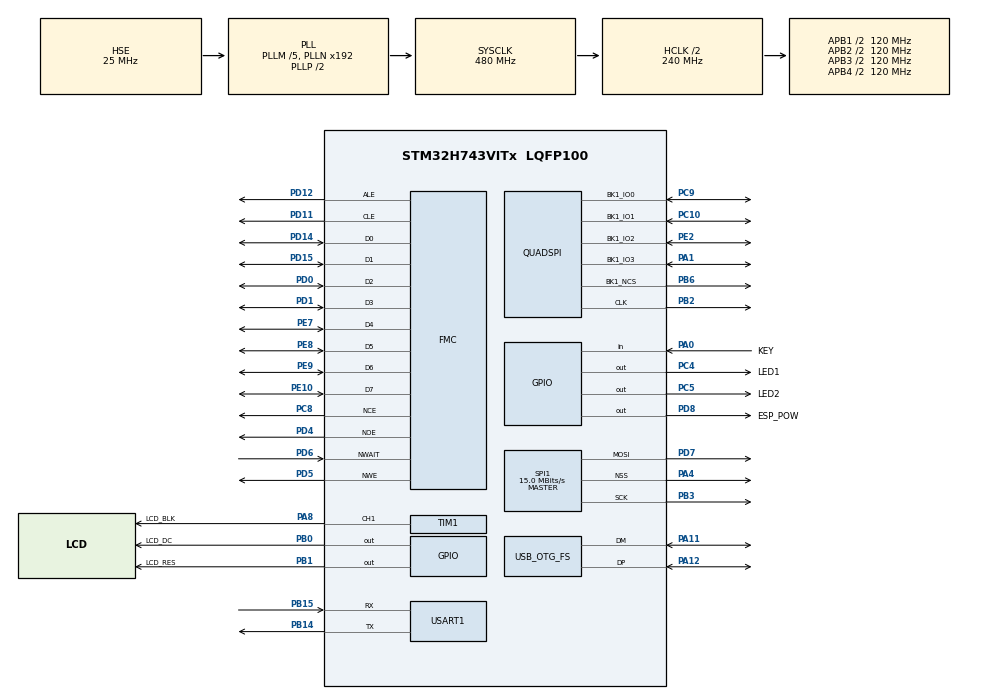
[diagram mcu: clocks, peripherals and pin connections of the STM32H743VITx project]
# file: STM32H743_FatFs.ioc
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Dma.Request0=SPI1_TX
Dma.Request1=USART1_RX
Dma.Request2=USART1_TX
Dma.SPI1_TX.0.Direction=DMA_MEMORY_TO_PERIPH
Dma.SPI1_TX.0.EventEnable=DISABLE
Dma.SPI1_TX.0.FIFOMode=DMA_FIFOMODE_DISABLE
Dma.SPI1_TX.0.Instance=DMA1_Stream0
Dma.SPI1_TX.0.MemDataAlignment=DMA_MDATAALIGN_BYTE
Dma.SPI1_TX.0.MemInc=DMA_MINC_ENABLE
Dma.SPI1_TX.0.Mode=DMA_NORMAL
Dma.SPI1_TX.0.PeriphDataAlignment=DMA_PDATAALIGN_BYTE
Dma.SPI1_TX.0.PeriphInc=DMA_PINC_DISABLE
Dma.SPI1_TX.0.Polarity=HAL_DMAMUX_REQ_GEN_RISING
Dma.SPI1_TX.0.Priority=DMA_PRIORITY_VERY_HIGH
Dma.SPI1_TX.0.RequestNumber=1
Dma.SPI1_TX.0.SignalID=NONE
Dma.SPI1_TX.0.SyncEnable=DISABLE
Dma.SPI1_TX.0.SyncPolarity=HAL_DMAMUX_SYNC_NO_EVENT
Dma.SPI1_TX.0.SyncRequestNumber=1
Dma.SPI1_TX.0.SyncSignalID=NONE
Dma.USART1_RX.1.Direction=DMA_PERIPH_TO_MEMORY
Dma.USART1_RX.1.EventEnable=DISABLE
Dma.USART1_RX.1.FIFOMode=DMA_FIFOMODE_DISABLE
Dma.USART1_RX.1.Instance=DMA1_Stream1
Dma.USART1_RX.1.MemDataAlignment=DMA_MDATAALIGN_BYTE
Dma.USART1_RX.1.MemInc=DMA_MINC_ENABLE
Dma.USART1_RX.1.Mode=DMA_CIRCULAR
Dma.USART1_RX.1.PeriphDataAlignment=DMA_PDATAALIGN_BYTE
Dma.USART1_RX.1.PeriphInc=DMA_PINC_DISABLE
Dma.USART1_RX.1.Polarity=HAL_DMAMUX_REQ_GEN_RISING
Dma.USART1_RX.1.Priority=DMA_PRIORITY_VERY_HIGH
Dma.USART1_RX.1.RequestNumber=1
Dma.USART1_RX.1.SignalID=NONE
Dma.USART1_RX.1.SyncEnable=DISABLE
Dma.USART1_RX.1.SyncPolarity=HAL_DMAMUX_SYNC_NO_EVENT
Dma.USART1_RX.1.SyncRequestNumber=1
Dma.USART1_RX.1.SyncSignalID=NONE
Dma.USART1_TX.2.Direction=DMA_MEMORY_TO_PERIPH
Dma.USART1_TX.2.EventEnable=DISABLE
Dma.USART1_TX.2.FIFOMode=DMA_FIFOMODE_DISABLE
Dma.USART1_TX.2.Instance=DMA1_Stream2
Dma.USART1_TX.2.MemDataAlignment=DMA_MDATAALIGN_BYTE
Dma.USART1_TX.2.MemInc=DMA_MINC_ENABLE
Dma.USART1_TX.2.Mode=DMA_NORMAL
Dma.USART1_TX.2.PeriphDataAlignment=DMA_PDATAALIGN_BYTE
Dma.USART1_TX.2.PeriphInc=DMA_PINC_DISABLE
Dma.USART1_TX.2.Polarity=HAL_DMAMUX_REQ_GEN_RISING
Dma.USART1_TX.2.Priority=DMA_PRIORITY_VERY_HIGH
Dma.USART1_TX.2.RequestNumber=1
Dma.USART1_TX.2.SignalID=NONE
Dma.USART1_TX.2.SyncEnable=DISABLE
Dma.USART1_TX.2.SyncPolarity=HAL_DMAMUX_SYNC_NO_EVENT
Dma.USART1_TX.2.SyncRequestNumber=1
Dma.USART1_TX.2.SyncSignalID=NONE
FATFS._CODE_PAGE=936
FATFS._MAX_SS=4096
FATFS._USE_LFN=2
FMC.AttributeSpaceHiZSetupTime1=2
FMC.AttributeSpaceHoldSetupTime1=3
FMC.AttributeSpaceSetupTime1=2
FMC.AttributeSpaceWaitSetupTime1=4
FMC.CommonSpaceHiZSetupTime1=2
FMC.CommonSpaceHoldSetupTime1=3
FMC.CommonSpaceSetupTime1=2
FMC.CommonSpaceWaitSetupTime1=4
FMC.ECCPageSize1=FMC_NAND_ECC_PAGE_SIZE_2048BYTE
FMC.EccComputation1=FMC_NAND_ECC_ENABLE
FMC.NandBlockNbr1=2048
FMC.NandBlockSize1=2048*64
FMC.NandPageSize1=2048+64
FMC.NandPlaneNbr1=2
FMC.NandPlaneSize1=4096
FMC.NandSpareAreaSize1=64
FMC.TARSetupTime1=0
FMC.TCLRSetupTime1=0
Mcu.Family=STM32H7
Mcu.Name=STM32H743VITx
Mcu.Package=LQFP100
Mdma.MDMA_Channel1.QUADSPI_FIFO_TH.0.BlockCount=0
Mdma.MDMA_Channel1.QUADSPI_FIFO_TH.0.BlockDataLength=0
Mdma.MDMA_Channel1.QUADSPI_FIFO_TH.0.BufferTransferLength=128
Mdma.MDMA_Channel1.QUADSPI_FIFO_TH.0.CircularMode=MDMA_LINEAR_LIST
Mdma.MDMA_Channel1.QUADSPI_FIFO_TH.0.DataAlignment=MDMA_DATAALIGN_PACKENABLE
Mdma.MDMA_Channel1.QUADSPI_FIFO_TH.0.DestBlockAddressOffset=0
Mdma.MDMA_Channel1.QUADSPI_FIFO_TH.0.DestBurst=MDMA_DEST_BURST_SINGLE
Mdma.MDMA_Channel1.QUADSPI_FIFO_TH.0.DestDataSize=MDMA_DEST_DATASIZE_BYTE
Mdma.MDMA_Channel1.QUADSPI_FIFO_TH.0.DestinationInc=MDMA_DEST_INC_DISABLE
Mdma.MDMA_Channel1.QUADSPI_FIFO_TH.0.DstAddress=0
Mdma.MDMA_Channel1.QUADSPI_FIFO_TH.0.Endianness=MDMA_LITTLE_ENDIANNESS_PRESERVE
Mdma.MDMA_Channel1.QUADSPI_FIFO_TH.0.Instance=MDMA_Channel1
Mdma.MDMA_Channel1.QUADSPI_FIFO_TH.0.MaskAddress=0
Mdma.MDMA_Channel1.QUADSPI_FIFO_TH.0.MaskData=0
Mdma.MDMA_Channel1.QUADSPI_FIFO_TH.0.Priority=MDMA_PRIORITY_VERY_HIGH
Mdma.MDMA_Channel1.QUADSPI_FIFO_TH.0.Rank=First
Mdma.MDMA_Channel1.QUADSPI_FIFO_TH.0.SourceBlockAddressOffset=0
Mdma.MDMA_Channel1.QUADSPI_FIFO_TH.0.SourceBurst=MDMA_SOURCE_BURST_SINGLE
Mdma.MDMA_Channel1.QUADSPI_FIFO_TH.0.SourceDataSize=MDMA_SRC_DATASIZE_BYTE
Mdma.MDMA_Channel1.QUADSPI_FIFO_TH.0.SourceInc=MDMA_SRC_INC_BYTE
Mdma.MDMA_Channel1.QUADSPI_FIFO_TH.0.SrcAddress=0
Mdma.MDMA_Channel1.QUADSPI_FIFO_TH.0.TransferTriggerMode=MDMA_BUFFER_TRANSFER
Mdma.MDMA_Channel1.Request0=QUADSPI_FIFO_TH
Mdma.MDMA_Channel1.RequestsNb=1
Mdma.RequestSet0=MDMA_Channel1
Mdma.RequestSetsNb=1
NVIC.DMA1_Stream0_IRQn=true\:1\:0\:true\:false\:true\:false\:true\:true
NVIC.DMA1_Stream1_IRQn=true\:0\:0\:true\:false\:true\:false\:true\:true
NVIC.DMA1_Stream2_IRQn=true\:0\:0\:false\:false\:true\:false\:true\:true
NVIC.MDMA_IRQn=true\:0\:0\:false\:false\:true\:false\:true\:true
NVIC.OTG_FS_IRQn=true\:3\:0\:true\:false\:true\:false\:true\:true
NVIC.PriorityGroup=NVIC_PRIORITYGROUP_4
NVIC.QUADSPI_IRQn=true\:0\:0\:false\:false\:true\:true\:true\:true
NVIC.SPI1_IRQn=true\:1\:0\:true\:false\:true\:true\:true\:true
NVIC.TIM15_IRQn=true\:0\:0\:false\:false\:true\:true\:true\:true
NVIC.USART1_IRQn=true\:0\:0\:false\:false\:true\:true\:true\:true
PA0.GPIO_Label=KEY
PA0.GPIO_PuPd=GPIO_PULLDOWN
PA0.Signal=GPIO_Input
PA1.GPIO_Speed=GPIO_SPEED_FREQ_VERY_HIGH
PA1.Mode=Single Bank 1
PA1.Signal=QUADSPI_BK1_IO3
PA11.GPIO_Speed=GPIO_SPEED_FREQ_LOW
PA11.Mode=Device_Only
PA11.Signal=USB_OTG_FS_DM
PA12.GPIO_Speed=GPIO_SPEED_FREQ_LOW
PA12.Mode=Device_Only
PA12.Signal=USB_OTG_FS_DP
PA13\ (JTMS/SWDIO).Mode=Serial_Wire
PA13\ (JTMS/SWDIO).Signal=DEBUG_JTMS-SWDIO
PA14\ (JTCK/SWCLK).Mode=Serial_Wire
PA14\ (JTCK/SWCLK).Signal=DEBUG_JTCK-SWCLK
PA4.GPIO_Speed=GPIO_SPEED_FREQ_VERY_HIGH
PA4.Mode=NSS_Signal_Hard_Output
PA4.Signal=SPI1_NSS
PA8.GPIO_Label=LCD_BLK
PA8.Signal=S_TIM1_CH1
PB0.GPIO_Label=LCD_DC
PB0.GPIO_Speed=GPIO_SPEED_FREQ_VERY_HIGH
PB0.Signal=GPIO_Output
PB1.GPIO_Label=LCD_RES
PB1.GPIO_Speed=GPIO_SPEED_FREQ_VERY_HIGH
PB1.Signal=GPIO_Output
PB14.GPIO_PuPd=GPIO_NOPULL
PB14.Mode=Asynchronous
PB14.Signal=USART1_TX
PB15.GPIO_PuPd=GPIO_PULLUP
PB15.Mode=Asynchronous
PB15.Signal=USART1_RX
PB2.GPIO_Speed=GPIO_SPEED_FREQ_VERY_HIGH
PB2.Mode=Single Bank 1
PB2.Signal=QUADSPI_CLK
PB3\ (JTDO/TRACESWO).GPIO_Speed=GPIO_SPEED_FREQ_VERY_HIGH
PB3\ (JTDO/TRACESWO).Mode=TX_Only_Simplex_Unidirect_Master
PB3\ (JTDO/TRACESWO).Signal=SPI1_SCK
PB6.GPIO_Speed=GPIO_SPEED_FREQ_VERY_HIGH
PB6.Mode=Single Bank 1
PB6.Signal=QUADSPI_BK1_NCS
PC10.GPIO_Speed=GPIO_SPEED_FREQ_VERY_HIGH
PC10.Mode=Single Bank 1
PC10.Signal=QUADSPI_BK1_IO1
PC14-OSC32_IN\ (OSC32_IN).Mode=LSE-External-Oscillator
PC14-OSC32_IN\ (OSC32_IN).Signal=RCC_OSC32_IN
PC15-OSC32_OUT\ (OSC32_OUT).Mode=LSE-External-Oscillator
PC15-OSC32_OUT\ (OSC32_OUT).Signal=RCC_OSC32_OUT
PC4.GPIO_Label=LED1
PC4.GPIO_PuPd=GPIO_PULLUP
PC4.PinState=GPIO_PIN_SET
PC4.Signal=GPIO_Output
PC5.GPIO_Label=LED2
PC5.GPIO_PuPd=GPIO_PULLUP
PC5.PinState=GPIO_PIN_SET
PC5.Signal=GPIO_Output
PC8.Mode=NandChipSelect3_1
PC8.Signal=FMC_NCE
PC9.GPIO_Speed=GPIO_SPEED_FREQ_VERY_HIGH
PC9.Mode=Single Bank 1
PC9.Signal=QUADSPI_BK1_IO0
PD0.Signal=FMC_D2_DA2
PD1.Signal=FMC_D3_DA3
PD11.Signal=FMC_A16_CLE
PD12.Signal=FMC_A17_ALE
PD14.Signal=FMC_D0_DA0
PD15.Signal=FMC_D1_DA1
PD4.Signal=FMC_NOE
PD5.Signal=FMC_NWE
PD6.GPIO_PuPd=GPIO_PULLUP
PD6.Signal=FMC_NWAIT
PD7.GPIO_Speed=GPIO_SPEED_FREQ_VERY_HIGH
PD7.Mode=TX_Only_Simplex_Unidirect_Master
PD7.Signal=SPI1_MOSI
PD8.GPIO_Label=ESP_POW
PD8.GPIO_PuPd=GPIO_PULLDOWN
PD8.Signal=GPIO_Output
PE10.Signal=FMC_D7_DA7
PE2.GPIO_Speed=GPIO_SPEED_FREQ_VERY_HIGH
PE2.Mode=Single Bank 1
PE2.Signal=QUADSPI_BK1_IO2
PE7.Signal=FMC_D4_DA4
PE8.Signal=FMC_D5_DA5
PE9.Signal=FMC_D6_DA6
PH0-OSC_IN\ (PH0).Mode=HSE-External-Oscillator
PH0-OSC_IN\ (PH0).Signal=RCC_OSC_IN
PH1-OSC_OUT\ (PH1).Mode=HSE-External-Oscillator
PH1-OSC_OUT\ (PH1).Signal=RCC_OSC_OUT
ProjectManager.HeapSize=0x8000
ProjectManager.StackSize=0x8000
ProjectManager.TargetToolchain=MDK-ARM V5.32
QUADSPI.ChipSelectHighTime=QSPI_CS_HIGH_TIME_2_CYCLE
QUADSPI.ClockMode=QSPI_CLOCK_MODE_0
QUADSPI.ClockPrescaler=2-1
QUADSPI.FifoThreshold=32
QUADSPI.FlashSize=23+1
QUADSPI.SampleShifting=QSPI_SAMPLE_SHIFTING_HALFCYCLE
RCC.ADCFreq_Value=120000000
RCC.APB1Freq_Value=120000000
RCC.APB2Freq_Value=120000000
RCC.APB3Freq_Value=120000000
RCC.APB4Freq_Value=120000000
RCC.CortexFreq_Value=480000000
RCC.D1PPRE=RCC_APB3_DIV2
RCC.D2PPRE1=RCC_APB1_DIV2
RCC.D2PPRE2=RCC_APB2_DIV2
RCC.D3PPRE=RCC_APB4_DIV2
RCC.DIVM1=5
RCC.DIVM2=5
RCC.DIVM3=25
RCC.DIVN1=192
RCC.DIVN2=48
RCC.DIVN3=240
RCC.DIVQ1=5
RCC.DIVQ3=5
RCC.DIVR1=5
RCC.HCLKFreq_Value=240000000
RCC.HPRE=RCC_HCLK_DIV2
RCC.PLLFRACN=0
RCC.PLLSourceVirtual=RCC_PLLSOURCE_HSE
RCC.QSPICLockSelection=RCC_QSPICLKSOURCE_PLL
RCC.SPI123CLockSelection=RCC_SPI123CLKSOURCE_PLL2
RCC.SYSCLKFreq_VALUE=480000000
RCC.SYSCLKSource=RCC_SYSCLKSOURCE_PLLCLK
RCC.USBCLockSelection=RCC_USBCLKSOURCE_PLL3
RCC.USBFreq_Value=48000000
SH.FMC_A16_CLE.0=FMC_CLE,8b-dmux1
SH.FMC_A17_ALE.0=FMC_ALE,8b-dmux1
SH.FMC_D0_DA0.0=FMC_D0,8b-dmux1
SH.FMC_D1_DA1.0=FMC_D1,8b-dmux1
SH.FMC_D2_DA2.0=FMC_D2,8b-dmux1
SH.FMC_D3_DA3.0=FMC_D3,8b-dmux1
SH.FMC_D4_DA4.0=FMC_D4,8b-dmux1
SH.FMC_D5_DA5.0=FMC_D5,8b-dmux1
SH.FMC_D6_DA6.0=FMC_D6,8b-dmux1
SH.FMC_D7_DA7.0=FMC_D7,8b-dmux1
SH.FMC_NOE.0=FMC_NOE,8b-dmux1
SH.FMC_NWAIT.0=FMC_NWAIT,Wait1
SH.FMC_NWE.0=FMC_NWE,8b-dmux1
SH.S_TIM1_CH1.0=TIM1_CH1,PWM Generation1 CH1
SPI1.BaudRatePrescaler=SPI_BAUDRATEPRESCALER_8
SPI1.CLKPolarity=SPI_POLARITY_LOW
SPI1.CalculateBaudRate=15.0 MBits/s
SPI1.DataSize=SPI_DATASIZE_8BIT
SPI1.Direction=SPI_DIRECTION_2LINES_TXONLY
SPI1.Mode=SPI_MODE_MASTER
SPI1.VirtualNSS=VM_NSSHARD
SPI1.VirtualType=VM_MASTER
TIM1.AutoReloadPreload=TIM_AUTORELOAD_PRELOAD_DISABLE
TIM1.Channel-PWM\ Generation1\ CH1=TIM_CHANNEL_1
TIM1.Period=1000
TIM1.Prescaler=24-1
TIM15.Period=10000-1
TIM15.Prescaler=24000-1
USART1.SwapParam=ADVFEATURE_SWAP_DISABLE
USART1.VirtualMode-Asynchronous=VM_ASYNC
USB_DEVICE.CLASS_NAME_FS=MSC
USB_DEVICE.MSC_MEDIA_PACKET-MSC_FS=4096
USB_DEVICE.VirtualMode-MSC_FS=Msc
USB_DEVICE.VirtualModeFS=Msc_FS
USB_OTG_FS.VirtualMode=Device_Only
VP_FATFS_VS_Generic.Mode=User_defined
VP_TIM14_VS_ClockSourceINT.Mode=Enable_Timer
VP_TIM15_VS_ClockSourceINT.Mode=Internal
VP_TIM1_VS_ClockSourceINT.Mode=Internal
VP_USB_DEVICE_VS_USB_DEVICE_MSC_FS.Mode=MSC_FS
board=custom

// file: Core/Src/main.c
/* USER CODE BEGIN Header */
/**
 ******************************************************************************
 * @file           : main.c
 * @brief          : Main program body
 ******************************************************************************
 * @attention
 *
 * Copyright (c) 2022 STMicroelectronics.
 * All rights reserved.
 *
 * This software is licensed under terms that can be found in the LICENSE file
 * in the root directory of this software component.
 * If no LICENSE file comes with this software, it is provided AS-IS.
 *
 ******************************************************************************
 */
/* USER CODE END Header */
#include "main.h"
#include "dma.h"
#include "fatfs.h"
#include "mdma.h"
#include "quadspi.h"
#include "spi.h"
#include "tim.h"
#include "usart.h"
#include "usb_device.h"
#include "gpio.h"
#include "fmc.h"

/* USER CODE BEGIN Includes */
#include "User_FatFs.h"
#include "User_Nand_Flash.h"
#include "w25qxx.h"
#include "Dev_Uart.h"
#include "stm_flash.h"
#include "Config_Module.h"

#include "st7735s.h"
#include "fonts.h"
#include "gfx.h"
/* USER CODE END Includes */

void SystemClock_Config(void);

int main(void)
{

  /* MCU Configuration--------------------------------------------------------*/

  /* Reset of all peripherals, Initializes the Flash interface and the Systick. */
  HAL_Init();

  /* Configure the system clock */
  SystemClock_Config();

  /* USER CODE BEGIN SysInit */

  //	HAL_Delay(3000);
  /* USER CODE END SysInit */

  /* Initialize all configured peripherals */
  MX_GPIO_Init();
  MX_TIM14_Init();
  MX_DMA_Init();
  MX_USART1_UART_Init();
  MX_QUADSPI_Init();
  MX_SPI1_Init();
  MX_TIM15_Init();
  MX_FATFS_Init();
  MX_USB_DEVICE_Init();
  MX_MDMA_Init();
  MX_FMC_Init();
  MX_TIM1_Init();
  /* USER CODE BEGIN 2 */
   // User_FatFs_Init();
    QSPI_W25Qx_Init();
  //	User_Nand_Flash_Init();
  // ST7735S_Init();

//  HAL_TIM_PWM_Start(&htim1 , TIM_CHANNEL_1);
//  __HAL_TIM_SET_COMPARE(&htim1 , TIM_CHANNEL_1 , 0);
//  __HAL_TIM_SET_COMPARE(&htim1 , TIM_CHANNEL_1 , 250);
//  __HAL_TIM_SET_COMPARE(&htim1 , TIM_CHANNEL_1 , 500);
//  __HAL_TIM_SET_COMPARE(&htim1 , TIM_CHANNEL_1 , 750);
//  __HAL_TIM_SET_COMPARE(&htim1 , TIM_CHANNEL_1 , 1000);

  ST7735S_Init();
  setOrientation(R0);

  HAL_Delay(100);

  // setOrientation(R270);

  setColor(0, 255, 255);
  fillScreen();
  HAL_Delay(100);
  setColor(0, 0, 255);
  fillScreen();
  //HAL_Delay(100);

  setColor(31, 63, 31);
  setbgColor(0, 0, 255);
  setFont(ter_u24b);
  drawText(0, 50, "Hi World!");

  HAL_GPIO_WritePin(ESP_POW_GPIO_Port, ESP_POW_Pin, GPIO_PIN_SET);

  // Config_Module("ATE0\r\n" , sizeof("ATE0\r\n") , "OK\r\n");
  uint32_t size;
  uint8_t buff[255];
  static uint32_t count;

  /* USER CODE END 2 */

  /* Infinite loop */
  /* USER CODE BEGIN WHILE */
  while (1)
  {
    count++;
    if (count % 5000)
    {
      size = User_UART_Read(&huart1, buff, 255);
      User_UART_Write(&huart1, buff, size);
      User_UART_Poll_DMA_TX(&huart1);
    }

    /* USER CODE END WHILE */

  }
}

void SystemClock_Config(void)
{
  RCC_OscInitTypeDef RCC_OscInitStruct = {0};
  RCC_ClkInitTypeDef RCC_ClkInitStruct = {0};

  /** Supply configuration update enable
  */
  HAL_PWREx_ConfigSupply(PWR_LDO_SUPPLY);

  /** Configure the main internal regulator output voltage
  */
  __HAL_PWR_VOLTAGESCALING_CONFIG(PWR_REGULATOR_VOLTAGE_SCALE0);

  while(!__HAL_PWR_GET_FLAG(PWR_FLAG_VOSRDY)) {}

  /** Macro to configure the PLL clock source
  */
  __HAL_RCC_PLL_PLLSOURCE_CONFIG(RCC_PLLSOURCE_HSE);

  /** Initializes the RCC Oscillators according to the specified parameters
  * in the RCC_OscInitTypeDef structure.
  */
  RCC_OscInitStruct.OscillatorType = RCC_OSCILLATORTYPE_HSE;
  RCC_OscInitStruct.HSEState = RCC_HSE_ON;
  RCC_OscInitStruct.PLL.PLLState = RCC_PLL_ON;
  RCC_OscInitStruct.PLL.PLLSource = RCC_PLLSOURCE_HSE;
  RCC_OscInitStruct.PLL.PLLM = 5;
  RCC_OscInitStruct.PLL.PLLN = 192;
  RCC_OscInitStruct.PLL.PLLP = 2;
  RCC_OscInitStruct.PLL.PLLQ = 5;
  RCC_OscInitStruct.PLL.PLLR = 5;
  RCC_OscInitStruct.PLL.PLLRGE = RCC_PLL1VCIRANGE_2;
  RCC_OscInitStruct.PLL.PLLVCOSEL = RCC_PLL1VCOWIDE;
  RCC_OscInitStruct.PLL.PLLFRACN = 0;
  if (HAL_RCC_OscConfig(&RCC_OscInitStruct) != HAL_OK)
  {
    Error_Handler();
  }

  /** Initializes the CPU, AHB and APB buses clocks
  */
  RCC_ClkInitStruct.ClockType = RCC_CLOCKTYPE_HCLK|RCC_CLOCKTYPE_SYSCLK
                              |RCC_CLOCKTYPE_PCLK1|RCC_CLOCKTYPE_PCLK2
                              |RCC_CLOCKTYPE_D3PCLK1|RCC_CLOCKTYPE_D1PCLK1;
  RCC_ClkInitStruct.SYSCLKSource = RCC_SYSCLKSOURCE_PLLCLK;
  RCC_ClkInitStruct.SYSCLKDivider = RCC_SYSCLK_DIV1;
  RCC_ClkInitStruct.AHBCLKDivider = RCC_HCLK_DIV2;
  RCC_ClkInitStruct.APB3CLKDivider = RCC_APB3_DIV2;
  RCC_ClkInitStruct.APB1CLKDivider = RCC_APB1_DIV2;
  RCC_ClkInitStruct.APB2CLKDivider = RCC_APB2_DIV2;
  RCC_ClkInitStruct.APB4CLKDivider = RCC_APB4_DIV2;

  if (HAL_RCC_ClockConfig(&RCC_ClkInitStruct, FLASH_LATENCY_4) != HAL_OK)
  {
    Error_Handler();
  }
}

void Error_Handler(void)
{
  __disable_irq();
  while (1)
  {
  }
}
